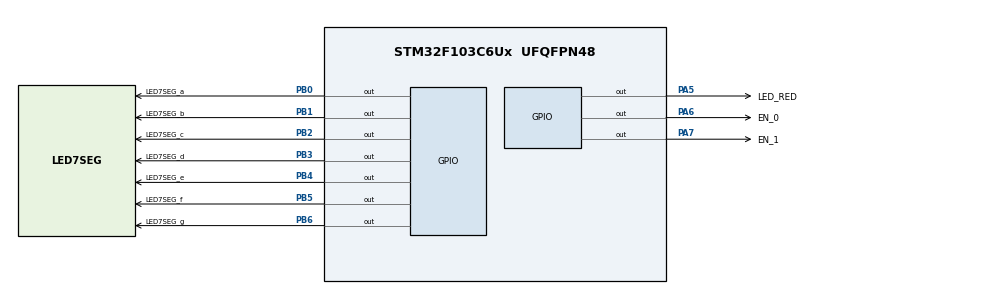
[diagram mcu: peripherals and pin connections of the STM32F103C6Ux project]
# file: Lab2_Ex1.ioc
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Mcu.Family=STM32F1
Mcu.Name=STM32F103C6Ux
Mcu.Package=UFQFPN48
NVIC.PriorityGroup=NVIC_PRIORITYGROUP_4
NVIC.TIM2_IRQn=true\:0\:0\:false\:false\:true\:true\:true
PA5.GPIO_Label=LED_RED
PA5.Signal=GPIO_Output
PA6.GPIO_Label=EN_0
PA6.Signal=GPIO_Output
PA7.GPIO_Label=EN_1
PA7.Signal=GPIO_Output
PB0.GPIO_Label=LED7SEG_a
PB0.Signal=GPIO_Output
PB1.GPIO_Label=LED7SEG_b
PB1.Signal=GPIO_Output
PB2.GPIO_Label=LED7SEG_c
PB2.Signal=GPIO_Output
PB3.GPIO_Label=LED7SEG_d
PB3.Signal=GPIO_Output
PB4.GPIO_Label=LED7SEG_e
PB4.Signal=GPIO_Output
PB5.GPIO_Label=LED7SEG_f
PB5.Signal=GPIO_Output
PB6.GPIO_Label=LED7SEG_g
PB6.Signal=GPIO_Output
ProjectManager.HeapSize=0x200
ProjectManager.StackSize=0x400
ProjectManager.TargetToolchain=STM32CubeIDE
RCC.APB1Freq_Value=8000000
RCC.APB2Freq_Value=8000000
TIM2.Period=9
TIM2.Prescaler=7999
VP_SYS_VS_ND.Mode=No_Debug
VP_TIM2_VS_ClockSourceINT.Mode=Internal
board=custom

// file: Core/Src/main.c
/* USER CODE BEGIN Header */
/**
  ******************************************************************************
  * @file           : main.c
  * @brief          : Main program body
  ******************************************************************************
  * @attention
  *
  * <h2><center>&copy; Copyright (c) 2025 STMicroelectronics.
  * All rights reserved.</center></h2>
  *
  * This software component is licensed by ST under BSD 3-Clause license,
  * the "License"; You may not use this file except in compliance with the
  * License. You may obtain a copy of the License at:
  *                        opensource.org/licenses/BSD-3-Clause
  *
  ******************************************************************************
  */
/* USER CODE END Header */
#include "main.h"

TIM_HandleTypeDef htim2;

void SystemClock_Config(void);
static void MX_TIM2_Init(void);
static void MX_GPIO_Init(void);

int main(void)
{

  /* MCU Configuration--------------------------------------------------------*/

  /* Reset of all peripherals, Initializes the Flash interface and the Systick. */
  HAL_Init();

  /* Configure the system clock */
  SystemClock_Config();

  /* Initialize all configured peripherals */
  MX_TIM2_Init();
  MX_GPIO_Init();
  /* USER CODE BEGIN 2 */
  HAL_TIM_Base_Start_IT (& htim2 );
  /* USER CODE END 2 */

  /* Infinite loop */
  while (1)
  {

  }
}

void SystemClock_Config(void)
{
  RCC_OscInitTypeDef RCC_OscInitStruct = {0};
  RCC_ClkInitTypeDef RCC_ClkInitStruct = {0};

  /** Initializes the RCC Oscillators according to the specified parameters
  * in the RCC_OscInitTypeDef structure.
  */
  RCC_OscInitStruct.OscillatorType = RCC_OSCILLATORTYPE_HSI;
  RCC_OscInitStruct.HSIState = RCC_HSI_ON;
  RCC_OscInitStruct.HSICalibrationValue = RCC_HSICALIBRATION_DEFAULT;
  RCC_OscInitStruct.PLL.PLLState = RCC_PLL_NONE;
  if (HAL_RCC_OscConfig(&RCC_OscInitStruct) != HAL_OK)
  {
    Error_Handler();
  }
  /** Initializes the CPU, AHB and APB buses clocks
  */
  RCC_ClkInitStruct.ClockType = RCC_CLOCKTYPE_HCLK|RCC_CLOCKTYPE_SYSCLK
                              |RCC_CLOCKTYPE_PCLK1|RCC_CLOCKTYPE_PCLK2;
  RCC_ClkInitStruct.SYSCLKSource = RCC_SYSCLKSOURCE_HSI;
  RCC_ClkInitStruct.AHBCLKDivider = RCC_SYSCLK_DIV1;
  RCC_ClkInitStruct.APB1CLKDivider = RCC_HCLK_DIV1;
  RCC_ClkInitStruct.APB2CLKDivider = RCC_HCLK_DIV1;

  if (HAL_RCC_ClockConfig(&RCC_ClkInitStruct, FLASH_LATENCY_0) != HAL_OK)
  {
    Error_Handler();
  }
}

static void MX_TIM2_Init(void)
{

  TIM_ClockConfigTypeDef sClockSourceConfig = {0};
  TIM_MasterConfigTypeDef sMasterConfig = {0};

  htim2.Instance = TIM2;
  htim2.Init.Prescaler = 7999;
  htim2.Init.CounterMode = TIM_COUNTERMODE_UP;
  htim2.Init.Period = 9;
  htim2.Init.ClockDivision = TIM_CLOCKDIVISION_DIV1;
  htim2.Init.AutoReloadPreload = TIM_AUTORELOAD_PRELOAD_DISABLE;
  if (HAL_TIM_Base_Init(&htim2) != HAL_OK)
  {
    Error_Handler();
  }
  sClockSourceConfig.ClockSource = TIM_CLOCKSOURCE_INTERNAL;
  if (HAL_TIM_ConfigClockSource(&htim2, &sClockSourceConfig) != HAL_OK)
  {
    Error_Handler();
  }
  sMasterConfig.MasterOutputTrigger = TIM_TRGO_RESET;
  sMasterConfig.MasterSlaveMode = TIM_MASTERSLAVEMODE_DISABLE;
  if (HAL_TIMEx_MasterConfigSynchronization(&htim2, &sMasterConfig) != HAL_OK)
  {
    Error_Handler();
  }

}

static void MX_GPIO_Init(void)
{
  GPIO_InitTypeDef GPIO_InitStruct = {0};

  /* GPIO Ports Clock Enable */
  __HAL_RCC_GPIOA_CLK_ENABLE();
  __HAL_RCC_GPIOB_CLK_ENABLE();

  /*Configure GPIO pin Output Level */
  HAL_GPIO_WritePin(GPIOA, LED_RED_Pin|EN_0_Pin|EN_1_Pin, GPIO_PIN_RESET);

  /*Configure GPIO pin Output Level */
  HAL_GPIO_WritePin(GPIOB, LED7SEG_a_Pin|LED7SEG_b_Pin|LED7SEG_c_Pin|LED7SEG_d_Pin
                          |LED7SEG_e_Pin|LED7SEG_f_Pin|LED7SEG_g_Pin, GPIO_PIN_RESET);

  /*Configure GPIO pins : LED_RED_Pin EN_0_Pin EN_1_Pin */
  GPIO_InitStruct.Pin = LED_RED_Pin|EN_0_Pin|EN_1_Pin;
  GPIO_InitStruct.Mode = GPIO_MODE_OUTPUT_PP;
  GPIO_InitStruct.Pull = GPIO_NOPULL;
  GPIO_InitStruct.Speed = GPIO_SPEED_FREQ_LOW;
  HAL_GPIO_Init(GPIOA, &GPIO_InitStruct);

  /*Configure GPIO pins : LED7SEG_a_Pin LED7SEG_b_Pin LED7SEG_c_Pin LED7SEG_d_Pin
                           LED7SEG_e_Pin LED7SEG_f_Pin LED7SEG_g_Pin */
  GPIO_InitStruct.Pin = LED7SEG_a_Pin|LED7SEG_b_Pin|LED7SEG_c_Pin|LED7SEG_d_Pin
                          |LED7SEG_e_Pin|LED7SEG_f_Pin|LED7SEG_g_Pin;
  GPIO_InitStruct.Mode = GPIO_MODE_OUTPUT_PP;
  GPIO_InitStruct.Pull = GPIO_NOPULL;
  GPIO_InitStruct.Speed = GPIO_SPEED_FREQ_LOW;
  HAL_GPIO_Init(GPIOB, &GPIO_InitStruct);

}

/* USER CODE BEGIN 4 */
int timer_counter = 0;
void HAL_TIM_PeriodElapsedCallback(TIM_HandleTypeDef *htim)
{
  if (htim->Instance == TIM2)
  {
    if (timer_counter < 50)
    {
      HAL_GPIO_WritePin(EN_1_GPIO_Port, EN_1_Pin, GPIO_PIN_SET);
      display7SEG(1);
      HAL_GPIO_WritePin(EN_0_GPIO_Port, EN_0_Pin, GPIO_PIN_RESET);
    }
    else
    {
      HAL_GPIO_WritePin(EN_0_GPIO_Port, EN_0_Pin, GPIO_PIN_SET);
      display7SEG(2);
      HAL_GPIO_WritePin(EN_1_GPIO_Port, EN_1_Pin, GPIO_PIN_RESET);
    }

    timer_counter++;
    if (timer_counter >= 100)
    {
      timer_counter = 0;
    }
  }
}
//int counter = 51;
//void HAL_TIM_PeriodElapsedCallback ( TIM_HandleTypeDef * htim )
//{
//	if(counter>0){
//		counter--;
//		if(counter==50){
//			display7SEG(1);
//			HAL_GPIO_WritePin(EN_0_GPIO_Port, EN_0_Pin,RESET);
//			HAL_GPIO_WritePin(EN_1_GPIO_Port, EN_1_Pin,SET);
//		}
//	else if (counter==0){
//		display7SEG(2);
//		HAL_GPIO_WritePin(EN_0_GPIO_Port, EN_0_Pin,SET);
//		HAL_GPIO_WritePin(EN_1_GPIO_Port, EN_1_Pin,RESET);
//		counter=100;
//		}
//	}
//}
void display7SEG(int num) {
    switch(num) {
      case 0:
        HAL_GPIO_WritePin(GPIOB, GPIO_PIN_0, GPIO_PIN_RESET); // a
        HAL_GPIO_WritePin(GPIOB, GPIO_PIN_1, GPIO_PIN_RESET); // b
        HAL_GPIO_WritePin(GPIOB, GPIO_PIN_2, GPIO_PIN_RESET); // c
        HAL_GPIO_WritePin(GPIOB, GPIO_PIN_3, GPIO_PIN_RESET); // d
        HAL_GPIO_WritePin(GPIOB, GPIO_PIN_4, GPIO_PIN_RESET); // e
        HAL_GPIO_WritePin(GPIOB, GPIO_PIN_5, GPIO_PIN_RESET); // f
        HAL_GPIO_WritePin(GPIOB, GPIO_PIN_6, GPIO_PIN_SET);   // g
        break;
      case 1:
        HAL_GPIO_WritePin(GPIOB, GPIO_PIN_0, GPIO_PIN_SET);   // a
        HAL_GPIO_WritePin(GPIOB, GPIO_PIN_1, GPIO_PIN_RESET); // b
        HAL_GPIO_WritePin(GPIOB, GPIO_PIN_2, GPIO_PIN_RESET); // c
        HAL_GPIO_WritePin(GPIOB, GPIO_PIN_3, GPIO_PIN_SET);   // d
        HAL_GPIO_WritePin(GPIOB, GPIO_PIN_4, GPIO_PIN_SET);   // e
        HAL_GPIO_WritePin(GPIOB, GPIO_PIN_5, GPIO_PIN_SET);   // f
        HAL_GPIO_WritePin(GPIOB, GPIO_PIN_6, GPIO_PIN_SET);   // g
        break;
      case 2:
        HAL_GPIO_WritePin(GPIOB, GPIO_PIN_0, GPIO_PIN_RESET); // a
        HAL_GPIO_WritePin(GPIOB, GPIO_PIN_1, GPIO_PIN_RESET); // b
        HAL_GPIO_WritePin(GPIOB, GPIO_PIN_2, GPIO_PIN_SET);   // c
        HAL_GPIO_WritePin(GPIOB, GPIO_PIN_3, GPIO_PIN_RESET); // d
        HAL_GPIO_WritePin(GPIOB, GPIO_PIN_4, GPIO_PIN_RESET); // e
        HAL_GPIO_WritePin(GPIOB, GPIO_PIN_5, GPIO_PIN_SET);   // f
        HAL_GPIO_WritePin(GPIOB, GPIO_PIN_6, GPIO_PIN_RESET); // g
        break;
      case 3:
        HAL_GPIO_WritePin(GPIOB, GPIO_PIN_0, GPIO_PIN_RESET); // a
        HAL_GPIO_WritePin(GPIOB, GPIO_PIN_1, GPIO_PIN_RESET); // b
        HAL_GPIO_WritePin(GPIOB, GPIO_PIN_2, GPIO_PIN_RESET); // c
        HAL_GPIO_WritePin(GPIOB, GPIO_PIN_3, GPIO_PIN_RESET); // d
        HAL_GPIO_WritePin(GPIOB, GPIO_PIN_4, GPIO_PIN_SET);   // e
        HAL_GPIO_WritePin(GPIOB, GPIO_PIN_5, GPIO_PIN_SET);   // f
        HAL_GPIO_WritePin(GPIOB, GPIO_PIN_6, GPIO_PIN_RESET); // g
        break;
      case 4:
        HAL_GPIO_WritePin(GPIOB, GPIO_PIN_0, GPIO_PIN_SET);   // a
        HAL_GPIO_WritePin(GPIOB, GPIO_PIN_1, GPIO_PIN_RESET); // b
        HAL_GPIO_WritePin(GPIOB, GPIO_PIN_2, GPIO_PIN_RESET); // c
        HAL_GPIO_WritePin(GPIOB, GPIO_PIN_3, GPIO_PIN_SET);   // d
        HAL_GPIO_WritePin(GPIOB, GPIO_PIN_4, GPIO_PIN_SET);   // e
        HAL_GPIO_WritePin(GPIOB, GPIO_PIN_5, GPIO_PIN_RESET); // f
        HAL_GPIO_WritePin(GPIOB, GPIO_PIN_6, GPIO_PIN_RESET); // g
        break;
      case 5:
        HAL_GPIO_WritePin(GPIOB, GPIO_PIN_0, GPIO_PIN_RESET); // a
        HAL_GPIO_WritePin(GPIOB, GPIO_PIN_1, GPIO_PIN_SET);   // b
        HAL_GPIO_WritePin(GPIOB, GPIO_PIN_2, GPIO_PIN_RESET); // c
        HAL_GPIO_WritePin(GPIOB, GPIO_PIN_3, GPIO_PIN_RESET); // d
        HAL_GPIO_WritePin(GPIOB, GPIO_PIN_4, GPIO_PIN_SET);   // e
        HAL_GPIO_WritePin(GPIOB, GPIO_PIN_5, GPIO_PIN_RESET); // f
        HAL_GPIO_WritePin(GPIOB, GPIO_PIN_6, GPIO_PIN_RESET); // g
        break;
      case 6:
        HAL_GPIO_WritePin(GPIOB, GPIO_PIN_0, GPIO_PIN_RESET); // a
        HAL_GPIO_WritePin(GPIOB, GPIO_PIN_1, GPIO_PIN_SET);   // b
        HAL_GPIO_WritePin(GPIOB, GPIO_PIN_2, GPIO_PIN_RESET); // c
        HAL_GPIO_WritePin(GPIOB, GPIO_PIN_3, GPIO_PIN_RESET); // d
        HAL_GPIO_WritePin(GPIOB, GPIO_PIN_4, GPIO_PIN_RESET); // e
        HAL_GPIO_WritePin(GPIOB, GPIO_PIN_5, GPIO_PIN_RESET); // f
        HAL_GPIO_WritePin(GPIOB, GPIO_PIN_6, GPIO_PIN_RESET); // g
        break;
      case 7:
        HAL_GPIO_WritePin(GPIOB, GPIO_PIN_0, GPIO_PIN_RESET); // a
        HAL_GPIO_WritePin(GPIOB, GPIO_PIN_1, GPIO_PIN_RESET); // b
        HAL_GPIO_WritePin(GPIOB, GPIO_PIN_2, GPIO_PIN_RESET); // c
        HAL_GPIO_WritePin(GPIOB, GPIO_PIN_3, GPIO_PIN_SET);   // d
        HAL_GPIO_WritePin(GPIOB, GPIO_PIN_4, GPIO_PIN_SET);   // e
        HAL_GPIO_WritePin(GPIOB, GPIO_PIN_5, GPIO_PIN_SET);   // f
        HAL_GPIO_WritePin(GPIOB, GPIO_PIN_6, GPIO_PIN_SET);   // g
        break;
      case 8:
        HAL_GPIO_WritePin(GPIOB, GPIO_PIN_0, GPIO_PIN_RESET); // a
        HAL_GPIO_WritePin(GPIOB, GPIO_PIN_1, GPIO_PIN_RESET); // b
        HAL_GPIO_WritePin(GPIOB, GPIO_PIN_2, GPIO_PIN_RESET); // c
        HAL_GPIO_WritePin(GPIOB, GPIO_PIN_3, GPIO_PIN_RESET); // d
        HAL_GPIO_WritePin(GPIOB, GPIO_PIN_4, GPIO_PIN_RESET); // e
        HAL_GPIO_WritePin(GPIOB, GPIO_PIN_5, GPIO_PIN_RESET); // f
        HAL_GPIO_WritePin(GPIOB, GPIO_PIN_6, GPIO_PIN_RESET); // g
        break;
      case 9:
        HAL_GPIO_WritePin(GPIOB, GPIO_PIN_0, GPIO_PIN_RESET); // a
        HAL_GPIO_WritePin(GPIOB, GPIO_PIN_1, GPIO_PIN_RESET); // b
        HAL_GPIO_WritePin(GPIOB, GPIO_PIN_2, GPIO_PIN_RESET); // c
        HAL_GPIO_WritePin(GPIOB, GPIO_PIN_3, GPIO_PIN_RESET); // d
        HAL_GPIO_WritePin(GPIOB, GPIO_PIN_4, GPIO_PIN_SET);   // e
        HAL_GPIO_WritePin(GPIOB, GPIO_PIN_5, GPIO_PIN_RESET); // f
        HAL_GPIO_WritePin(GPIOB, GPIO_PIN_6, GPIO_PIN_RESET); // g
        break;
      default:
        HAL_GPIO_WritePin(GPIOB, GPIO_PIN_0, GPIO_PIN_SET);
        HAL_GPIO_WritePin(GPIOB, GPIO_PIN_1, GPIO_PIN_SET);
        HAL_GPIO_WritePin(GPIOB, GPIO_PIN_2, GPIO_PIN_SET);
        HAL_GPIO_WritePin(GPIOB, GPIO_PIN_3, GPIO_PIN_SET);
        HAL_GPIO_WritePin(GPIOB, GPIO_PIN_4, GPIO_PIN_SET);
        HAL_GPIO_WritePin(GPIOB, GPIO_PIN_5, GPIO_PIN_SET);
        HAL_GPIO_WritePin(GPIOB, GPIO_PIN_6, GPIO_PIN_SET);
        break;
    }
  }

/* USER CODE END 4 */

void Error_Handler(void)
{
  __disable_irq();
  while (1)
  {
  }
}

/************************ (C) COPYRIGHT STMicroelectronics *****END OF FILE****/
